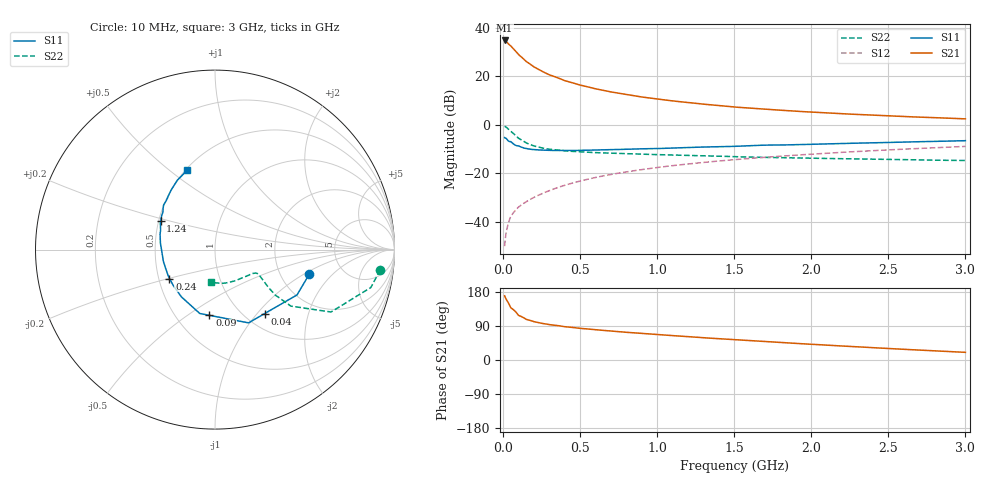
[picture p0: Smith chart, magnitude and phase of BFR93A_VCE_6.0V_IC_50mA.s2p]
! Infineon Technologies  Discrete & RF Semiconductors
! BFR93A
! VCE =  6.0 V,  IC =  50 mA
! Common Emitter S-Parameters:  Nov 2015
# GHz  S  MA  R  50
!  f  S11  S21  S12  S22
! GHz  MAG  ANG  MAG  ANG  MAG  ANG  MAG  ANG
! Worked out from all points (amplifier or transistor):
!   180 points, 10 MHz to 3 GHz, reference 50 ohm
!   highest |S21| = 34.8 dB at 10 MHz (marker M1)
!   |S21| within 3 dB of that: start of sweep to 60.92 MHz
!   unconditionally stable (mu >= 1): 271.2 MHz to 2.756 GHz
!   at 160 MHz: K = 0.86, MSG = 28.6 dB, |S12| = -31.4 dB
!   at 1.22 GHz: K = 1.09, MAG = 10.7 dB, |S12| = -16.1 dB
!   at 3 GHz: K = 0.99, MSG = 5.7 dB, |S12| = -9.0 dB
!   S11 on the Smith chart (normalised r, x): 10 MHz: 2.88, -1.13; 40 MHz: 1.23, -1.10; 90 MHz: 0.72, -0.61; 240 MHz: 0.57, -0.20; 1.24 GHz: 0.51, +0.19; 3 GHz: 0.51, +0.58
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0.01  0.5423 -14.8  55.05 169.5  0.0031 81.4  0.9274 -7.0
0.02  0.5222 -28.9  52.76 160.2  0.006 76.9  0.8935 -13.7
0.04  0.4512 -52.1  45.03 146.4  0.0105 70.4  0.7809 -22.8
0.05  0.4489 -65.4  42.4 137.9  0.0128 68.9  0.7336 -28.3
0.09  0.3676 -94.8  30.64 123.3  0.0185 65.5  0.5668 -34.5
0.1  0.3659 -103.4  28.18 117.8  0.0199 64.9  0.5265 -36.7
0.15  0.3231 -125.4  20.26 107.3  0.0256 66.2  0.42 -37.0
0.2  0.3065 -139.5  15.7 101.2  0.0315 68.6  0.3646 -35.3
0.24  0.3005 -147.6  13.35 97.8  0.0362 69.7  0.3388 -33.9
0.26  0.2988 -150.9  12.36 96.1  0.0386 70.2  0.3283 -33.2
0.3  0.2954 -156.2  10.74 93.4  0.0435 71.1  0.3121 -32.0
0.4  0.295 -167.5  8.143 87.9  0.0561 72.3  0.2879 -30.1
0.52  0.2962 -177.4  6.374 82.9  0.0712 72.5  0.2731 -29.4
0.6  0.3009 177.8  5.523 79.8  0.0815 72.3  0.2652 -29.6
0.7  0.3063 173.2  4.759 76.3  0.0939 71.7  0.2583 -30.4
0.88  0.3166 165.0  3.829 70.8  0.116 70.3  0.2469 -32.7
1.02  0.3235 159.6  3.33 66.7  0.1331 68.8  0.2407 -35.1
1.24  0.3423 152.2  2.784 60.5  0.1593 66.4  0.2301 -39.8
1.52  0.3594 143.8  2.298 53.0  0.192 63.4  0.218 -46.5
2.02  0.3957 131.2  1.81 41.1  0.2487 57.8  0.2031 -60.7
2.52  0.4325 120.2  1.515 30.0  0.3044 51.7  0.192 -77.2
3  0.4683 109.6  1.322 20.2  0.3566 45.7  0.1828 -97.4
